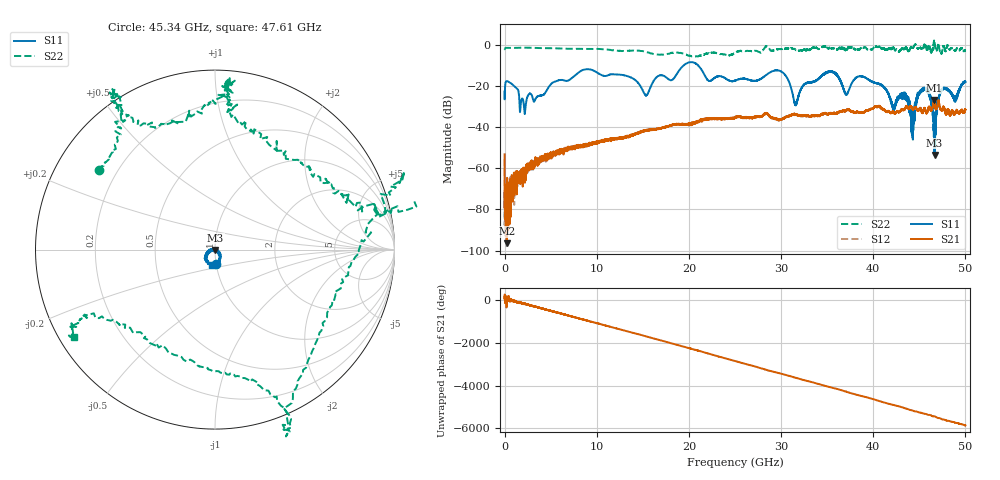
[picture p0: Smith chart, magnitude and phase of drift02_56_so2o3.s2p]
!Created with skrf (http://scikit-rf.org).
# Hz S RI R 50.0
!freq ReS11 ImS11 ReS21 ImS21 ReS12 ImS12 ReS22 ImS22
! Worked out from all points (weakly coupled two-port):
!   10001 points, 300 kHz to 50 GHz, reference 50 ohm
!   highest |S21| = -26.82 dB at 46.6 GHz (marker M1); lowest = -96.4 dB at 235.3 MHz (marker M2)
!   lowest |S11| = -53.5 dB at 46.66 GHz (marker M3), VSWR 1.00, Z = 50.1 - j0.18 ohm
!   |S11| at or under -10 dB: start of sweep to 19.42 GHz; 21.00416 GHz to 21.00894 GHz (4.771 MHz wide, 0.0227 % of centre); 21.01 GHz to end of sweep
!   |S22| runs from -5.7 to 2.2 dB; largest |S21 - S12| = 0.0038
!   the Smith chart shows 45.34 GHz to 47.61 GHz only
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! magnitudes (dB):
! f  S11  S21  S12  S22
! 300 kHz  -22.6  -53.2  -55.3  -2.0
! 235.3 MHz  -17.6  -96.4  -73.9  -1.4
! 2.18 GHz  -33.5  -61.5  -62.6  -1.3
! 8.335 GHz  -12.5  -48.8  -48.9  -1.9
! 15.34 GHz  -24.6  -41.8  -41.4  -3.3
! 16.67 GHz  -15.1  -40.8  -40.8  -4.7
! 20.3 GHz  -8.4  -38.5  -38.4  -5.5
! 25 GHz  -17.4  -35.2  -35.3  -3.9
! 29.83 GHz  -12.5  -36.6  -36.5  -2.0
! 31.59 GHz  -29.0  -33.8  -34.1  -2.4
! 33.34 GHz  -18.0  -34.5  -34.4  -1.6
! 35.6 GHz  -13.1  -33.2  -33.2  -1.6
! 37.1 GHz  -24.2  -31.9  -31.6  -2.3
! 38.76 GHz  -15.3  -32.6  -32.7  -1.0
! 41.67 GHz  -24.2  -32.3  -32.2  -1.9
! 43.49 GHz  -24.5  -30.8  -30.6  -1.5
! 44.27 GHz  -38.4  -31.4  -31.2  -1.5
! 45.7 GHz  -21.5  -32.4  -32.3  -0.7
! 46.6 GHz  -39.9  -26.8  -26.8  1.8
! 46.66 GHz  -53.5  -28.2  -28.1  1.1
! 47.46 GHz  -21.7  -31.9  -31.6  -3.7
! 50 GHz  -18.1  -31.5  -31.7  -2.6
